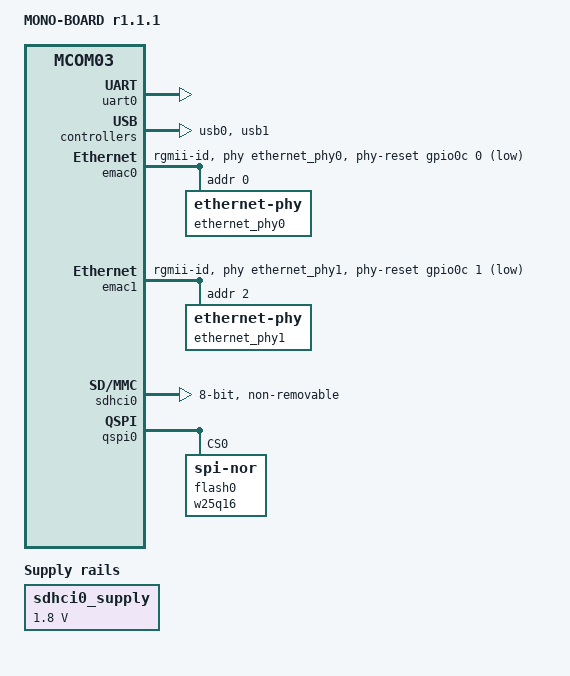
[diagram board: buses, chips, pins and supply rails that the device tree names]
// SPDX-License-Identifier: GPL-2.0+
/*
 * Copyright 2023 RnD Center "ELVEES", JSC
 */

/dts-v1/;

#include <dt-bindings/gpio/gpio.h>

#include "mcom03.dtsi"

/ {
	model = "MONO-BOARD r1.1.1";
	compatible = "elvees,monoboard-r1.1.1",
		     "elvees,monoboard",
		     "elvees,mcom03";

	chosen {
		stdout-path = "serial0:115200n8";
	};

	sdhci0_supply: regulator@0 {
		compatible = "regulator-fixed";
		regulator-name = "sdhci0-supply";
		regulator-min-microvolt = <1800000>;
		regulator-max-microvolt = <1800000>;
		regulator-always-on;
	};
};

&uart0 {
	status = "okay";
	clock-frequency = <27920454>;
};

&usb0 {
	status = "okay";
};

&usb1 {
	status = "okay";
};

&emac0 {
	status = "okay";
	phy-mode = "rgmii-id";
	phy-reset-gpios = <&gpio0c 0 GPIO_ACTIVE_LOW>;
	phy-handle = <&ethernet_phy0>;

	ethernet_phy0: ethernet-phy@0 {
		reg = <0x0>;
		motorcomm,clk-out-frequency-hz = <0>;
		rx-internal-delay-ps = <1650>;
		tx-internal-delay-ps = <1050>;
	};
};

&emac1 {
	status = "okay";
	phy-mode = "rgmii-id";
	phy-reset-gpios = <&gpio0c 1 GPIO_ACTIVE_LOW>;
	phy-handle = <&ethernet_phy1>;

	ethernet_phy1: ethernet-phy@2 {
		reg = <0x2>;
		motorcomm,clk-out-frequency-hz = <0>;
		rx-internal-delay-ps = <1650>;
		tx-internal-delay-ps = <1350>;
	};
};

/* Connected to eMMC */
&sdhci0 {
	status = "okay";

	non-removable;
	bus-width = <8>;

	vqmmc-supply = <&sdhci0_supply>;
};

&qspi0 {
	status = "okay";

	flash0: w25q16@0 {
		#address-cells = <1>;
		#size-cells = <1>;
		compatible = "jedec,spi-nor", "spi-flash";
		reg = <0x0>;

		spi-tx-bus-width = <4>;
		spi-rx-bus-width = <4>;
	};
};
